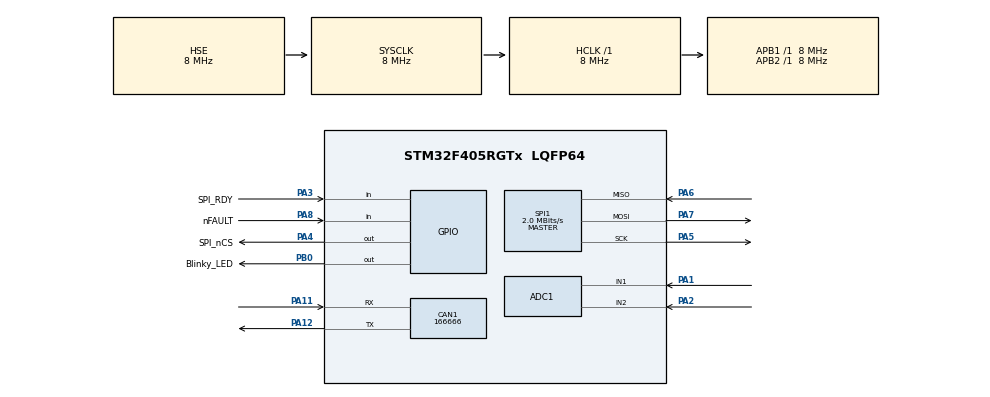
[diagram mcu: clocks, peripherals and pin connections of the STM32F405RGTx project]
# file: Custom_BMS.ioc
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ADC1.Channel-0\#ChannelRegularConversion=ADC_CHANNEL_1
ADC1.NbrOfConversionFlag=1
ADC1.Rank-0\#ChannelRegularConversion=1
ADC1.SamplingTime-0\#ChannelRegularConversion=ADC_SAMPLETIME_3CYCLES
ADC1.master=1
CAN1.CalculateBaudRate=166666
CAN1.CalculateTimeBit=6000
CAN1.CalculateTimeQuantum=2000.0
Dma.Request0=SPI1_RX
Dma.Request1=SPI1_TX
Dma.SPI1_RX.0.Direction=DMA_PERIPH_TO_MEMORY
Dma.SPI1_RX.0.FIFOMode=DMA_FIFOMODE_DISABLE
Dma.SPI1_RX.0.Instance=DMA2_Stream0
Dma.SPI1_RX.0.MemDataAlignment=DMA_MDATAALIGN_BYTE
Dma.SPI1_RX.0.MemInc=DMA_MINC_ENABLE
Dma.SPI1_RX.0.Mode=DMA_NORMAL
Dma.SPI1_RX.0.PeriphDataAlignment=DMA_PDATAALIGN_BYTE
Dma.SPI1_RX.0.PeriphInc=DMA_PINC_DISABLE
Dma.SPI1_RX.0.Priority=DMA_PRIORITY_LOW
Dma.SPI1_TX.1.Direction=DMA_MEMORY_TO_PERIPH
Dma.SPI1_TX.1.FIFOMode=DMA_FIFOMODE_DISABLE
Dma.SPI1_TX.1.Instance=DMA2_Stream3
Dma.SPI1_TX.1.MemDataAlignment=DMA_MDATAALIGN_BYTE
Dma.SPI1_TX.1.MemInc=DMA_MINC_ENABLE
Dma.SPI1_TX.1.Mode=DMA_NORMAL
Dma.SPI1_TX.1.PeriphDataAlignment=DMA_PDATAALIGN_BYTE
Dma.SPI1_TX.1.PeriphInc=DMA_PINC_DISABLE
Dma.SPI1_TX.1.Priority=DMA_PRIORITY_LOW
Mcu.Family=STM32F4
Mcu.Name=STM32F405RGTx
Mcu.Package=LQFP64
NVIC.DMA2_Stream0_IRQn=true\:0\:0\:false\:false\:true\:false\:true\:true
NVIC.DMA2_Stream3_IRQn=true\:0\:0\:false\:false\:true\:false\:true\:true
NVIC.PriorityGroup=NVIC_PRIORITYGROUP_4
NVIC.SPI1_IRQn=true\:0\:0\:false\:false\:true\:true\:true\:true
PA1.Signal=ADCx_IN1
PA11.Mode=CAN_Activate
PA11.Signal=CAN1_RX
PA12.Mode=CAN_Activate
PA12.Signal=CAN1_TX
PA2.Signal=ADCx_IN2
PA3.GPIO_Label=SPI_RDY
PA3.Signal=GPIO_Input
PA4.GPIO_Label=SPI_nCS
PA4.Signal=GPIO_Output
PA5.Mode=Full_Duplex_Master
PA5.Signal=SPI1_SCK
PA6.Mode=Full_Duplex_Master
PA6.Signal=SPI1_MISO
PA7.GPIO_PuPd=GPIO_PULLUP
PA7.Mode=Full_Duplex_Master
PA7.Signal=SPI1_MOSI
PA8.GPIO_Label=nFAULT
PA8.Signal=GPIO_Input
PB0.GPIO_Label=Blinky_LED
PB0.Signal=GPIO_Output
PH0-OSC_IN.Mode=HSE-External-Oscillator
PH0-OSC_IN.Signal=RCC_OSC_IN
PH1-OSC_OUT.Mode=HSE-External-Oscillator
PH1-OSC_OUT.Signal=RCC_OSC_OUT
ProjectManager.HeapSize=0x200
ProjectManager.StackSize=0x400
ProjectManager.TargetToolchain=STM32CubeIDE
RCC.48MHZClocksFreq_Value=24000000
RCC.AHBFreq_Value=8000000
RCC.APB1Freq_Value=8000000
RCC.APB1TimFreq_Value=8000000
RCC.APB2Freq_Value=8000000
RCC.APB2TimFreq_Value=8000000
RCC.CortexFreq_Value=8000000
RCC.HCLKFreq_Value=8000000
RCC.HSE_VALUE=8000000
RCC.HSI_VALUE=16000000
RCC.LSE_VALUE=32768
RCC.PLLSourceVirtual=RCC_PLLSOURCE_HSE
RCC.SYSCLKFreq_VALUE=8000000
RCC.SYSCLKSource=RCC_SYSCLKSOURCE_HSE
RCC.VCOOutputFreq_Value=96000000
SH.ADCx_IN1.0=ADC1_IN1,IN1
SH.ADCx_IN2.0=ADC1_IN2,IN2
SPI1.BaudRatePrescaler=SPI_BAUDRATEPRESCALER_4
SPI1.CalculateBaudRate=2.0 MBits/s
SPI1.Direction=SPI_DIRECTION_2LINES
SPI1.Mode=SPI_MODE_MASTER
SPI1.VirtualType=VM_MASTER
TIM6.Prescaler=7
VP_TIM6_VS_ClockSourceINT.Mode=Enable_Timer
board=custom

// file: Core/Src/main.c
/* USER CODE BEGIN Header */
/**
  ******************************************************************************
  * @file           : main.c
  * @brief          : Main program body
  ******************************************************************************
  * @attention
  *
  * Copyright (c) 2026 STMicroelectronics.
  * All rights reserved.
  *
  * This software is licensed under terms that can be found in the LICENSE file
  * in the root directory of this software component.
  * If no LICENSE file comes with this software, it is provided AS-IS.
  *
  ******************************************************************************
  */
/* USER CODE END Header */
#include "main.h"

/* USER CODE BEGIN PD */
#define BUFFER_SIZE 100
/* USER CODE END PD */

ADC_HandleTypeDef hadc1;

CAN_HandleTypeDef hcan1;

SPI_HandleTypeDef hspi1;
DMA_HandleTypeDef hdma_spi1_rx;
DMA_HandleTypeDef hdma_spi1_tx;

TIM_HandleTypeDef htim6;

void SystemClock_Config(void);
static void MX_GPIO_Init(void);
static void MX_DMA_Init(void);
static void MX_ADC1_Init(void);
static void MX_CAN1_Init(void);
static void MX_SPI1_Init(void);
static void MX_TIM6_Init(void);
/* USER CODE BEGIN PFP */
void Comm_Init();
void Read_Cell_Volts();
uint16_t crc16(const uint8_t *data, uint32_t len);
void SPI_frame(uint8_t* frame, uint8_t packet_type, int8_t device_addr, uint16_t reg_addr, uint8_t data[], uint8_t size);
void delay_us(uint32_t us);
/* USER CODE END PFP */

/* USER CODE BEGIN 0 */
uint8_t TX_Data[15] = "Hello World!";
uint8_t RX_Buffer[BUFFER_SIZE] = {0};

// LUT for message type
typedef enum {
    SINGLE_R,
	SINGLE_W,
	STACK_R,
	STACK_W,
	BROADCAST_R,
	BROADCAST_W,
	BROADCASE_W_REVERSE,
} init_id_t;

static const uint16_t packet_init_table[7] = {
    0x80, // SINGLE_R
	0x90, // SINGLE_W
	0xA0, // STACK_R
	0XB0, // STACK_W
	0XC0, // BROADCAST_R
	0XD0, // BROADCAST_W
	0XE0, // BROADCASE_W_REVERSE
};

// LUTs for device id addresses
typedef enum {
	BRIDGE,
	CELL1,
	CELL2,
	CELL3,
	CELL4,
	CELL5,
	CELL6,
	CELL7,
	CELL8,
	CELL9,
	CELL10,
	CELL11,
	CELL12,
	CELL13,
	CELL14,
	CELL15,
	CELL16,
} device_id_t;

static const uint16_t device_addr_table[17] = {
	0x00, // Bridge device
	0x01, // Cell 1
	0x02, // Cell 2
	0x03, // Cell 3
	0x04, // Cell 4
	0x05, // Cell 5
	0x06, // Cell 6
	0x07, // Cell 7
	0x08, // Cell 8
	0x09, // Cell 9
	0x0A, // Cell 10
	0x0B, // Cell 11
	0x0C, // Cell 12
	0x0D, // Cell 13
	0x0E, // Cell 14
	0x0F, // Cell 15
	0x10, // Cell 16
};

// LUTs for register addresses
typedef enum {
	DIR0_ADDR,
	DIR1_ADDR,
	CONTROL1,
	CONTROL2,
	ACTIVE_CELL,
	ADC_CTRL1,
	VCELL16_HI,

} reg_id_t;

static const uint16_t reg_addr_table[7] = {
	0X306, // DIR0_ADDR
	0x307, // DIR2_ADDR
	0x309, // CONTROL1
	0x30A, // CONTROL2
	0x0003, // ACTIVE_CELL
	0x030D, // ADC_CTRL1
	0x0568, // VCELL16_HI
};

/* USER CODE END 0 */

int main(void)
{

  /* MCU Configuration--------------------------------------------------------*/

  /* Reset of all peripherals, Initializes the Flash interface and the Systick. */
  HAL_Init();

  /* Configure the system clock */
  SystemClock_Config();

  /* Initialize all configured peripherals */
  MX_GPIO_Init();
  MX_DMA_Init();
  MX_ADC1_Init();
  MX_CAN1_Init();
  MX_SPI1_Init();
  MX_TIM6_Init();
  /* USER CODE BEGIN 2 */

  Comm_Init();
  // enable timers

  /* USER CODE END 2 */

  /* Infinite loop */
  /* USER CODE BEGIN WHILE */
  while (1)
  {
	  HAL_GPIO_TogglePin (GPIOB, GPIO_PIN_0);

//	  if(HAL_GPIO_ReadPin(GPIOA, GPIO_PIN_3)){ // Read SPI_RDY
//		  SPI_frame(TX_Data, packet_init_table[SINGLE_R], device_addr_table[BRIDGE], 0x2100, (uint8_t[]){0x00}, 1); // Read a register
//	  	  HAL_GPIO_WritePin(GPIOA, GPIO_PIN_4, GPIO_PIN_RESET);
//	  	  HAL_SPI_Transmit_DMA(&hspi1, TX_Data, sizeof(TX_Data));
//	  }
	  SPI_frame(TX_Data, packet_init_table[SINGLE_R], device_addr_table[BRIDGE], 0x2100, (uint8_t[]){0x00}, 1); // Read a register
//
//	  HAL_GPIO_WritePin(GPIOA, GPIO_PIN_7, GPIO_PIN_SET);
//
//	  // 3. Start Frame
//	  HAL_GPIO_WritePin(GPIOA, GPIO_PIN_4, GPIO_PIN_RESET);
//	  delay_us(10); // Give the BQ a moment to wake up the SPI port
//
//	  // 4. Transmit the command
//	  HAL_SPI_Transmit(&hspi1, TX_Data, 7, 100);
//	  HAL_GPIO_WritePin(GPIOA, GPIO_PIN_4, GPIO_PIN_SET);
//
//
//	  HAL_SPI_Receive(&hspi1, RX_Buffer, 7, 100);
//
//	  HAL_Delay(200);
	  // 1. PHASE ONE: SEND THE COMMAND
	  HAL_GPIO_WritePin(GPIOA, GPIO_PIN_4, GPIO_PIN_RESET); // nCS Low
	  HAL_SPI_Transmit(&hspi1, TX_Data, 7, 100);           // Send 7-byte Read Command
	  HAL_GPIO_WritePin(GPIOA, GPIO_PIN_4, GPIO_PIN_SET);   // nCS HIGH (Crucial!)

	  // 2. THE WAIT: POLL THE HARDWARE PIN
	  // The BQ will pull SPI_RDY low here while it talks to the stack.
	  // You MUST wait for it to go High again.
	  uint32_t timeout = 10000;
	  while(HAL_GPIO_ReadPin(GPIOA, GPIO_PIN_3) == GPIO_PIN_RESET && timeout > 0) {
	      timeout--; // Wait for BQ to be ready
	  }

	  // 3. PHASE TWO: GET THE DATA
	  // Response frame for a 1-byte read is 7 bytes: [Header][ID][Addr][Addr][Data][CRC][CRC]
	  HAL_GPIO_WritePin(GPIOA, GPIO_PIN_4, GPIO_PIN_RESET); // nCS Low again
	  HAL_SPI_Receive(&hspi1, RX_Buffer, 7, 100);          // Clock out the 7-byte response
	  HAL_GPIO_WritePin(GPIOA, GPIO_PIN_4, GPIO_PIN_SET);   // nCS High

	  // 4. MOSI IDLE HIGH HANDOVER
	  // Your handover logic is correct, but only do it here, after the whole transaction.
	  HAL_GPIO_WritePin(GPIOA, GPIO_PIN_7, GPIO_PIN_SET);
	  HAL_Delay(500);

    /* USER CODE END WHILE */

  }
}

void SystemClock_Config(void)
{
  RCC_OscInitTypeDef RCC_OscInitStruct = {0};
  RCC_ClkInitTypeDef RCC_ClkInitStruct = {0};

  /** Configure the main internal regulator output voltage
  */
  __HAL_RCC_PWR_CLK_ENABLE();
  __HAL_PWR_VOLTAGESCALING_CONFIG(PWR_REGULATOR_VOLTAGE_SCALE1);

  /** Initializes the RCC Oscillators according to the specified parameters
  * in the RCC_OscInitTypeDef structure.
  */
  RCC_OscInitStruct.OscillatorType = RCC_OSCILLATORTYPE_HSE;
  RCC_OscInitStruct.HSEState = RCC_HSE_ON;
  RCC_OscInitStruct.PLL.PLLState = RCC_PLL_NONE;
  if (HAL_RCC_OscConfig(&RCC_OscInitStruct) != HAL_OK)
  {
    Error_Handler();
  }

  /** Initializes the CPU, AHB and APB buses clocks
  */
  RCC_ClkInitStruct.ClockType = RCC_CLOCKTYPE_HCLK|RCC_CLOCKTYPE_SYSCLK
                              |RCC_CLOCKTYPE_PCLK1|RCC_CLOCKTYPE_PCLK2;
  RCC_ClkInitStruct.SYSCLKSource = RCC_SYSCLKSOURCE_HSE;
  RCC_ClkInitStruct.AHBCLKDivider = RCC_SYSCLK_DIV1;
  RCC_ClkInitStruct.APB1CLKDivider = RCC_HCLK_DIV1;
  RCC_ClkInitStruct.APB2CLKDivider = RCC_HCLK_DIV1;

  if (HAL_RCC_ClockConfig(&RCC_ClkInitStruct, FLASH_LATENCY_0) != HAL_OK)
  {
    Error_Handler();
  }
}

static void MX_ADC1_Init(void)
{

  ADC_ChannelConfTypeDef sConfig = {0};

  /** Configure the global features of the ADC (Clock, Resolution, Data Alignment and number of conversion)
  */
  hadc1.Instance = ADC1;
  hadc1.Init.ClockPrescaler = ADC_CLOCK_SYNC_PCLK_DIV2;
  hadc1.Init.Resolution = ADC_RESOLUTION_12B;
  hadc1.Init.ScanConvMode = DISABLE;
  hadc1.Init.ContinuousConvMode = DISABLE;
  hadc1.Init.DiscontinuousConvMode = DISABLE;
  hadc1.Init.ExternalTrigConvEdge = ADC_EXTERNALTRIGCONVEDGE_NONE;
  hadc1.Init.ExternalTrigConv = ADC_SOFTWARE_START;
  hadc1.Init.DataAlign = ADC_DATAALIGN_RIGHT;
  hadc1.Init.NbrOfConversion = 1;
  hadc1.Init.DMAContinuousRequests = DISABLE;
  hadc1.Init.EOCSelection = ADC_EOC_SINGLE_CONV;
  if (HAL_ADC_Init(&hadc1) != HAL_OK)
  {
    Error_Handler();
  }

  /** Configure for the selected ADC regular channel its corresponding rank in the sequencer and its sample time.
  */
  sConfig.Channel = ADC_CHANNEL_1;
  sConfig.Rank = 1;
  sConfig.SamplingTime = ADC_SAMPLETIME_3CYCLES;
  if (HAL_ADC_ConfigChannel(&hadc1, &sConfig) != HAL_OK)
  {
    Error_Handler();
  }

}

static void MX_CAN1_Init(void)
{

  hcan1.Instance = CAN1;
  hcan1.Init.Prescaler = 16;
  hcan1.Init.Mode = CAN_MODE_NORMAL;
  hcan1.Init.SyncJumpWidth = CAN_SJW_1TQ;
  hcan1.Init.TimeSeg1 = CAN_BS1_1TQ;
  hcan1.Init.TimeSeg2 = CAN_BS2_1TQ;
  hcan1.Init.TimeTriggeredMode = DISABLE;
  hcan1.Init.AutoBusOff = DISABLE;
  hcan1.Init.AutoWakeUp = DISABLE;
  hcan1.Init.AutoRetransmission = DISABLE;
  hcan1.Init.ReceiveFifoLocked = DISABLE;
  hcan1.Init.TransmitFifoPriority = DISABLE;
  if (HAL_CAN_Init(&hcan1) != HAL_OK)
  {
    Error_Handler();
  }

}

static void MX_SPI1_Init(void)
{

  /* SPI1 parameter configuration*/
  hspi1.Instance = SPI1;
  hspi1.Init.Mode = SPI_MODE_MASTER;
  hspi1.Init.Direction = SPI_DIRECTION_2LINES;
  hspi1.Init.DataSize = SPI_DATASIZE_8BIT;
  hspi1.Init.CLKPolarity = SPI_POLARITY_LOW;
  hspi1.Init.CLKPhase = SPI_PHASE_1EDGE;
  hspi1.Init.NSS = SPI_NSS_SOFT;
  hspi1.Init.BaudRatePrescaler = SPI_BAUDRATEPRESCALER_4;
  hspi1.Init.FirstBit = SPI_FIRSTBIT_MSB;
  hspi1.Init.TIMode = SPI_TIMODE_DISABLE;
  hspi1.Init.CRCCalculation = SPI_CRCCALCULATION_DISABLE;
  hspi1.Init.CRCPolynomial = 10;
  if (HAL_SPI_Init(&hspi1) != HAL_OK)
  {
    Error_Handler();
  }

}

static void MX_TIM6_Init(void)
{

  TIM_MasterConfigTypeDef sMasterConfig = {0};

  htim6.Instance = TIM6;
  htim6.Init.Prescaler = 7;
  htim6.Init.CounterMode = TIM_COUNTERMODE_UP;
  htim6.Init.Period = 65535;
  htim6.Init.AutoReloadPreload = TIM_AUTORELOAD_PRELOAD_DISABLE;
  if (HAL_TIM_Base_Init(&htim6) != HAL_OK)
  {
    Error_Handler();
  }
  sMasterConfig.MasterOutputTrigger = TIM_TRGO_RESET;
  sMasterConfig.MasterSlaveMode = TIM_MASTERSLAVEMODE_DISABLE;
  if (HAL_TIMEx_MasterConfigSynchronization(&htim6, &sMasterConfig) != HAL_OK)
  {
    Error_Handler();
  }

}

static void MX_DMA_Init(void)
{

  /* DMA controller clock enable */
  __HAL_RCC_DMA2_CLK_ENABLE();

  /* DMA interrupt init */
  /* DMA2_Stream0_IRQn interrupt configuration */
  HAL_NVIC_SetPriority(DMA2_Stream0_IRQn, 0, 0);
  HAL_NVIC_EnableIRQ(DMA2_Stream0_IRQn);
  /* DMA2_Stream3_IRQn interrupt configuration */
  HAL_NVIC_SetPriority(DMA2_Stream3_IRQn, 0, 0);
  HAL_NVIC_EnableIRQ(DMA2_Stream3_IRQn);

}

static void MX_GPIO_Init(void)
{
  GPIO_InitTypeDef GPIO_InitStruct = {0};

  /* GPIO Ports Clock Enable */
  __HAL_RCC_GPIOH_CLK_ENABLE();
  __HAL_RCC_GPIOA_CLK_ENABLE();
  __HAL_RCC_GPIOB_CLK_ENABLE();

  /*Configure GPIO pin Output Level */
  HAL_GPIO_WritePin(SPI_nCS_GPIO_Port, SPI_nCS_Pin, GPIO_PIN_RESET);

  /*Configure GPIO pin Output Level */
  HAL_GPIO_WritePin(Blinky_LED_GPIO_Port, Blinky_LED_Pin, GPIO_PIN_RESET);

  /*Configure GPIO pins : SPI_RDY_Pin nFAULT_Pin */
  GPIO_InitStruct.Pin = SPI_RDY_Pin|nFAULT_Pin;
  GPIO_InitStruct.Mode = GPIO_MODE_INPUT;
  GPIO_InitStruct.Pull = GPIO_NOPULL;
  HAL_GPIO_Init(GPIOA, &GPIO_InitStruct);

  /*Configure GPIO pin : SPI_nCS_Pin */
  GPIO_InitStruct.Pin = SPI_nCS_Pin;
  GPIO_InitStruct.Mode = GPIO_MODE_OUTPUT_PP;
  GPIO_InitStruct.Pull = GPIO_NOPULL;
  GPIO_InitStruct.Speed = GPIO_SPEED_FREQ_LOW;
  HAL_GPIO_Init(SPI_nCS_GPIO_Port, &GPIO_InitStruct);

  /*Configure GPIO pin : Blinky_LED_Pin */
  GPIO_InitStruct.Pin = Blinky_LED_Pin;
  GPIO_InitStruct.Mode = GPIO_MODE_OUTPUT_PP;
  GPIO_InitStruct.Pull = GPIO_NOPULL;
  GPIO_InitStruct.Speed = GPIO_SPEED_FREQ_LOW;
  HAL_GPIO_Init(Blinky_LED_GPIO_Port, &GPIO_InitStruct);

}

/* USER CODE BEGIN 4 */
void delay_us(uint32_t us) {
//    uint32_t start = TIM2->CNT;
//    uint32_t duration = us * 16;
//    while (TIM2->CNT - start < duration);
	__HAL_TIM_SET_COUNTER(&htim6, 0);
	HAL_TIM_Base_Start(&htim6);
	while (__HAL_TIM_GET_COUNTER(&htim6) < us);
	HAL_TIM_Base_Stop(&htim6);
}

void HAL_SPI_RxCpltCallback(SPI_HandleTypeDef * hspi){
	HAL_SPI_Receive_DMA(&hspi1, RX_Buffer, BUFFER_SIZE);
}

void HAL_SPI_TxCpltCallback(SPI_HandleTypeDef * hspi)
{
	if(hspi->Instance == SPI1) {
		HAL_GPIO_WritePin(GPIOA, GPIO_PIN_4, GPIO_PIN_SET); // Pull CS high only when done
	}
}

uint16_t crc16(const uint8_t *data, uint32_t len)
{
	uint16_t crc = 0xFFFF; // Initialization
	//x16+x15+x2+x1 = 1100000000000101
	uint16_t poly = 0xA001; // Reflected form of 0x8005 since LSB first

	for (uint32_t i = 0; i < len; i++) {
		crc ^= (uint16_t)data[i];
		for (uint8_t b = 0; b < 8; b++) {
			if (crc & 0x0001) {
				crc = (crc >> 1) ^ poly;
			} else {
				crc >>= 1;
			}
		}
	}
	return crc;
}

// create SPI frame with format:  initialization byte (1) | device id (1) | reg address (2) | data bytes (<=8) | CRC (2)
// set device address to -1 if not used
void SPI_frame(uint8_t* frame, uint8_t packet_type, int8_t device_addr, uint16_t reg_addr, uint8_t data[], uint8_t size){
	if (size == 0 || size > 8)
	    return;

	memset(frame, 0, 15);
	uint8_t total_payload_len = 0;
	frame[0] = packet_type;

	if (device_addr >= 0){
		frame[1] = (uint8_t)device_addr;
		frame[2] = (reg_addr >> 8) & 0xFF;
		frame[3] = reg_addr & 0xFF;
		memcpy(&frame[4], data, size);
		total_payload_len = 4 + size;
	}
	else{
		frame[1] = (reg_addr >> 8) & 0xFF;
		frame[2] = reg_addr & 0xFF;
		memcpy(&frame[3], data, size);
		total_payload_len = 3 + size;
	}

	uint16_t crc = crc16(frame, total_payload_len);
	frame[total_payload_len] = crc & 0xFF;        // Low Byte
	frame[total_payload_len + 1] = (crc >> 8) & 0xFF; // High Byte
}

void Comm_Init(){
  // wake ping: pull nCS line low for 2us, pull MOSI line low for 2.75ms, high for 2us, send 90 00 03 09 20 13 95
  HAL_GPIO_WritePin(GPIOA, GPIO_PIN_4, GPIO_PIN_RESET);
  delay_us(2);
  HAL_GPIO_WritePin(GPIOA, GPIO_PIN_4, GPIO_PIN_SET);
  HAL_GPIO_WritePin(GPIOA, GPIO_PIN_7, GPIO_PIN_RESET);
  HAL_Delay(2);
  delay_us(750);
  HAL_GPIO_WritePin(GPIOA, GPIO_PIN_7, GPIO_PIN_SET);
  delay_us(2);

  HAL_Delay(4);

  SPI_frame(TX_Data, packet_init_table[SINGLE_W], device_addr_table[BRIDGE], reg_addr_table[CONTROL1], (uint8_t[]){0x20}, 1);
  HAL_SPI_Transmit_DMA(&hspi1, TX_Data, sizeof(TX_Data));
  // then wait ((~1.6 + 10ms) * n stacked devices)
  HAL_Delay(12);

  // device address self-assignment: sync delay-locked loop
  SPI_frame(TX_Data, packet_init_table[STACK_W], -1, 0x0343, (uint8_t[]){0x00}, 1); // OPT_ECC_DATAIN1 - B0 03 43 00 E7 D4
  HAL_SPI_Transmit_DMA(&hspi1, TX_Data, sizeof(TX_Data));
  SPI_frame(TX_Data, packet_init_table[STACK_W], -1, 0x0344, (uint8_t[]){0x00}, 1); // OPT_ECC_DATAIN2 - B0 03 44 00 E5 E4
  HAL_SPI_Transmit_DMA(&hspi1, TX_Data, sizeof(TX_Data));
  SPI_frame(TX_Data, packet_init_table[STACK_W], -1, 0x0345, (uint8_t[]){0x00}, 1); // OPT_ECC_DATAIN3
  HAL_SPI_Transmit_DMA(&hspi1, TX_Data, sizeof(TX_Data));
  SPI_frame(TX_Data, packet_init_table[STACK_W], -1, 0x0346, (uint8_t[]){0x00}, 1); // OPT_ECC_DATAIN4
  HAL_SPI_Transmit_DMA(&hspi1, TX_Data, sizeof(TX_Data));
  SPI_frame(TX_Data, packet_init_table[STACK_W], -1, 0x0347, (uint8_t[]){0x00}, 1); // OPT_ECC_DATAIN5
  HAL_SPI_Transmit_DMA(&hspi1, TX_Data, sizeof(TX_Data));
  SPI_frame(TX_Data, packet_init_table[STACK_W], -1, 0x0348, (uint8_t[]){0x00}, 1); // OPT_ECC_DATAIN6
  HAL_SPI_Transmit_DMA(&hspi1, TX_Data, sizeof(TX_Data));
  SPI_frame(TX_Data, packet_init_table[STACK_W], -1, 0x0349, (uint8_t[]){0x00}, 1); // OPT_ECC_DATAIN7
  HAL_SPI_Transmit_DMA(&hspi1, TX_Data, sizeof(TX_Data));
  SPI_frame(TX_Data, packet_init_table[STACK_W], -1, 0x034A, (uint8_t[]){0x00}, 1); // OPT_ECC_DATAIN8
  HAL_SPI_Transmit_DMA(&hspi1, TX_Data, sizeof(TX_Data));

  SPI_frame(TX_Data, packet_init_table[BROADCAST_W], -1, reg_addr_table[CONTROL1], (uint8_t[]){0x01}, 1);  // enable auto addressing - D0 03 09 01 0F 74
  HAL_SPI_Transmit_DMA(&hspi1, TX_Data, sizeof(TX_Data));
  SPI_frame(TX_Data, packet_init_table[BROADCAST_W], -1, reg_addr_table[DIR0_ADDR], (uint8_t[]){0x00}, 1); // set bridge device - D0 03 06 00 CB 44
  HAL_SPI_Transmit_DMA(&hspi1, TX_Data, sizeof(TX_Data));
  SPI_frame(TX_Data, packet_init_table[BROADCAST_W], -1, reg_addr_table[DIR0_ADDR], (uint8_t[]){0x01}, 1); // set device 1 - D0 03 06 01 0A 84
  HAL_SPI_Transmit_DMA(&hspi1, TX_Data, sizeof(TX_Data));
}

void Start_Cell_Volts(){
  SPI_frame(TX_Data, packet_init_table[BROADCAST_W], -1, reg_addr_table[ACTIVE_CELL], (uint8_t[]){0x0A}, 1);  // set active cells - B0 00 03 0A A6 13
  HAL_SPI_Transmit_DMA(&hspi1, TX_Data, sizeof(TX_Data));
  SPI_frame(TX_Data, &hspi1, -1, reg_addr_table[ADC_CTRL1], (uint8_t[]){0x06}, 1);  // start continuous run ADC
  HAL_SPI_Transmit_DMA(&hspi1, TX_Data, sizeof(TX_Data));
  delay_us(250); // 92us + (5us x TOTALBOARDS)
  SPI_frame(TX_Data, packet_init_table[STACK_R], -1, reg_addr_table[VCELL16_HI], (uint8_t[]){0x1F}, 1);  // start continuous run ADC
  HAL_SPI_Transmit_DMA(&hspi1, TX_Data, sizeof(TX_Data));
}

/* USER CODE END 4 */

void Error_Handler(void)
{
  __disable_irq();
  while (1)
  {
  }
}
